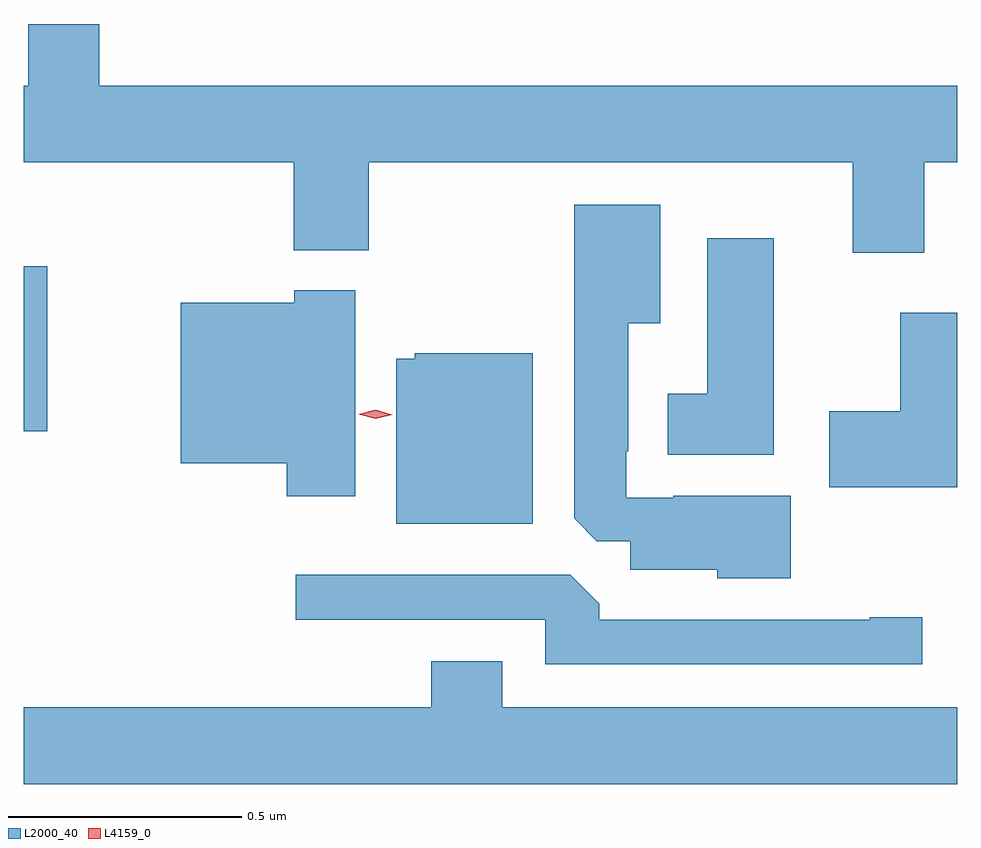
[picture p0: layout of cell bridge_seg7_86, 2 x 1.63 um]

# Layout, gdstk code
import gdstk
lib = gdstk.Library(unit=1e-6, precision=1e-09)
def R(c, l, rs):  # rectangles x0, y0, x1, y1
    for r in rs: c.add(gdstk.rectangle(r[:2], r[2:], *l))
def P(c, l, *ps):  # polygons
    for p in ps: c.add(gdstk.Polygon(p, *l))
L2000_40 = (2000, 40)
L4159_0 = (4159, 0)

bridge_seg7_86 = lib.new_cell('bridge_seg7_86')
R(bridge_seg7_86, L2000_40, [(1093.856,1006.7,1093.906,1007.053)])
P(bridge_seg7_86, L2000_40, [(1095.785,1007.276),(1095.856,1007.276),(1095.856,1007.44),(1094.018,1007.44),(1094.018,1007.572),(1093.866,1007.572),(1093.866,1007.44),(1093.856,1007.44),(1093.856,1007.276),(1094.435,1007.276),(1094.435,1007.087),(1094.595,1007.087),(1094.595,1007.276),(1095.632,1007.276),(1095.632,1007.082),(1095.785,1007.082)],
  [(1095.499,1006.561),(1095.247,1006.561),(1095.247,1006.557),(1095.147,1006.557),(1095.147,1006.657),(1095.151,1006.657),(1095.151,1006.931),(1095.22,1006.931),(1095.22,1007.185),(1095.035,1007.185),(1095.035,1006.513),(1095.084,1006.464),(1095.155,1006.464),(1095.155,1006.403),(1095.342,1006.403),(1095.342,1006.385),(1095.499,1006.385)],
  [(1095.463,1007.113),(1095.32,1007.113),(1095.32,1006.78),(1095.236,1006.78),(1095.236,1006.649),(1095.463,1006.649)],
  [(1094.566,1007.002),(1094.436,1007.002),(1094.436,1006.975),(1094.192,1006.975),(1094.192,1006.631),(1094.42,1006.631),(1094.42,1006.56),(1094.566,1006.56)],
  [(1095.856,1006.954),(1095.734,1006.954),(1095.734,1006.743),(1095.582,1006.743),(1095.582,1006.58),(1095.856,1006.58)],
  [(1094.947,1006.867),(1094.694,1006.867),(1094.694,1006.855),(1094.654,1006.855),(1094.654,1006.502),(1094.947,1006.502)],
  [(1095.781,1006.301),(1095.668,1006.301),(1095.668,1006.296),(1095.089,1006.296),(1095.089,1006.33),(1095.027,1006.392),(1094.439,1006.392),(1094.439,1006.296),(1094.973,1006.296),(1094.973,1006.2),(1095.781,1006.2)],
  [(1095.856,1006.108),(1094.881,1006.108),(1094.881,1006.207),(1094.729,1006.207),(1094.729,1006.108),(1093.856,1006.108),(1093.856,1005.944),(1095.856,1005.944)])
P(bridge_seg7_86, L4159_0, [(1094.61,1006.726),(1094.573,1006.736),(1094.573,1006.736),(1094.573,1006.736),(1094.61,1006.746),(1094.646,1006.735),(1094.646,1006.735),(1094.646,1006.735)])

lib.write_gds('bridge_seg7_86.gds')
